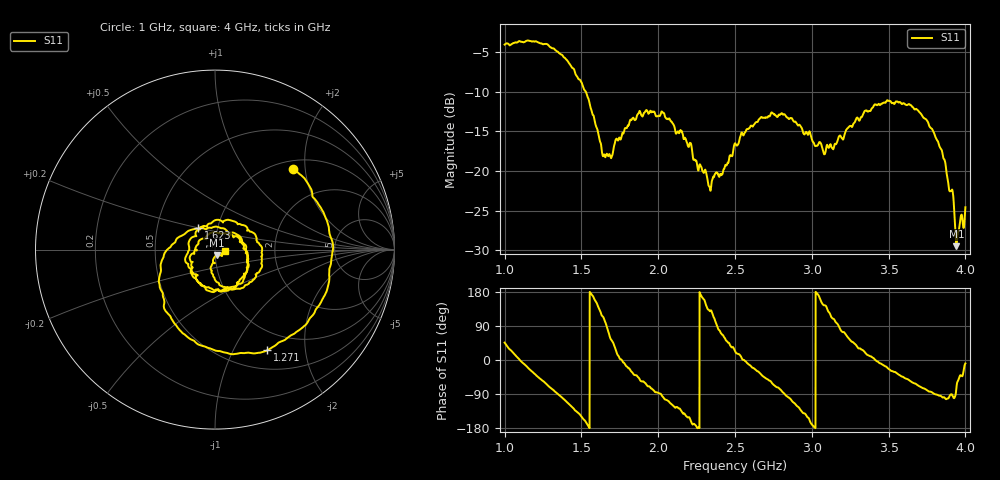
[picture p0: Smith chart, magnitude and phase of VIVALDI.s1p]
!Agilent Technologies,E8364A,US41440144,A.06.04.32
!Agilent E8364A: A.06.04.32
!Date: Thursday, May 24, 2018 11:15:06
!Correction: S11(Full 1 Port(1))
!S1P File: Measurement: S11:
# Hz S  dB  R 50
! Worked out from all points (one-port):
!   3201 points, 1 GHz to 4 GHz, reference 50 ohm
!   lowest |S11| = -29.5 dB at 3.942 GHz (marker M1), VSWR 1.07, Z = 50.9 - j3.26 ohm
!   |S11| at or under -10 dB: 1.529 GHz to end of sweep
!   S11 on the Smith chart (normalised r, x): 1 GHz: 1.17, +1.72; 1.271 GHz: 0.73, -1.37; 1.623 GHz: 0.81, +0.20; 4 GHz: 1.12, -0.02
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1e9  -4.08 45.9
1.07875e9  -3.82 8.8
1.137812e9  -3.64 -14.4
1.204375e9  -3.66 -39.9
1.270938e9  -3.99 -62.7
1.375e9  -5.39 -99.6
1.443438e9  -7.04 -125.2
1.504375e9  -9.04 -152.1
1.623438e9  -16.41 128.2
1.687188e9  -18.09 58.8
1.75e9  -15.92 3.3
1.935625e9  -12.77 -69.6
2.03125e9  -12.67 -97.7
2.125e9  -15.11 -124.4
2.335938e9  -22.11 129.0
2.5e9  -16.53 23.2
2.664062e9  -13.35 -35.4
2.875e9  -13.54 -110.2
2.985625e9  -15.03 -159.0
3.080312e9  -17.90 144.4
3.25e9  -14.32 52.2
3.420625e9  -11.64 -2.5
3.625e9  -11.65 -50.8
3.745938e9  -13.55 -78.7
3.835e9  -17.04 -94.3
3.91375e9  -22.35 -92.1
3.941875e9  -29.48 -72.5
4e9  -24.57 -9.0
